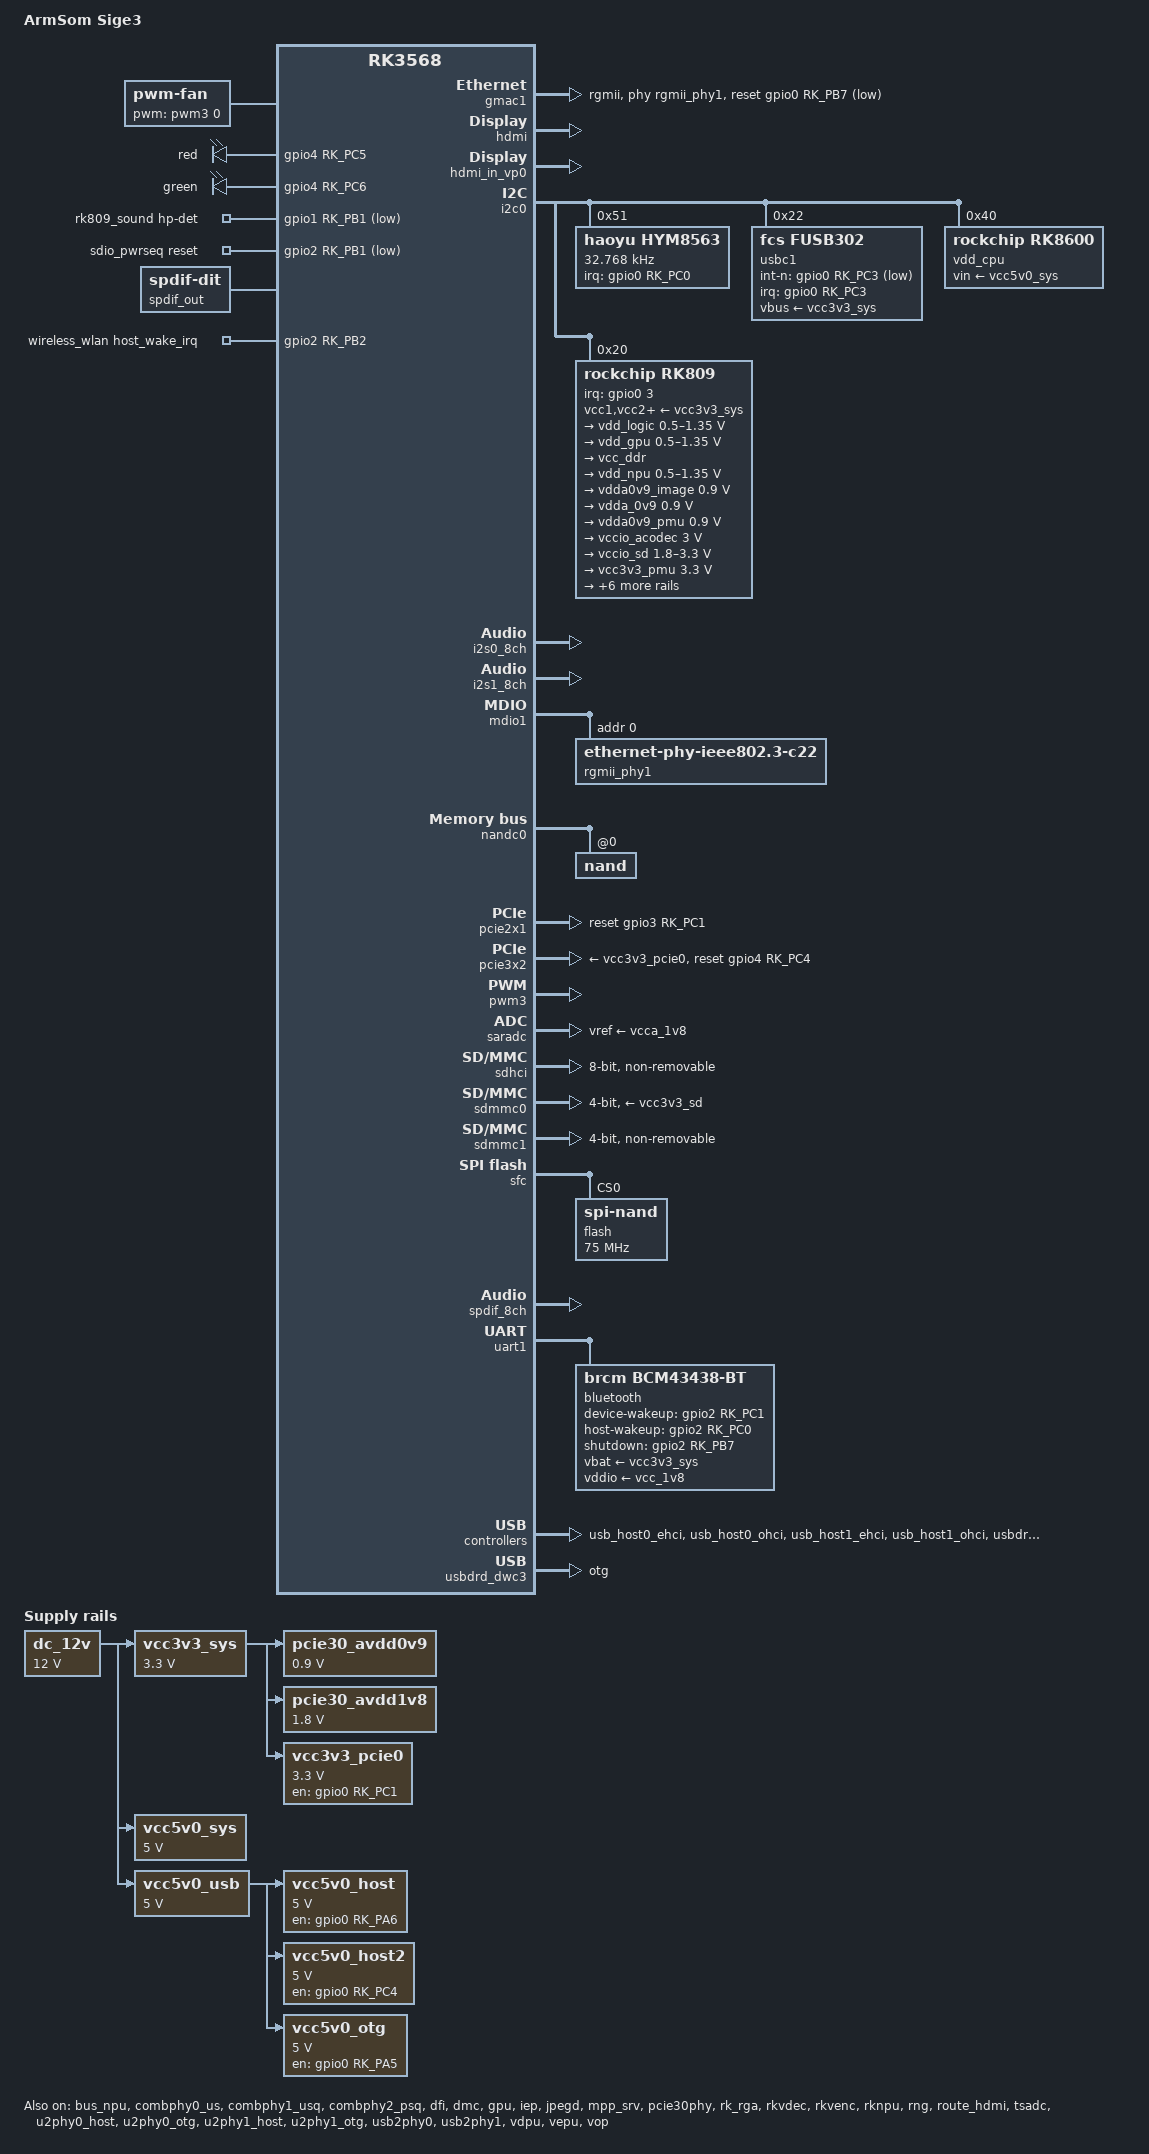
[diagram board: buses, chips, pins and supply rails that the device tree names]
// SPDX-License-Identifier: (GPL-2.0+ OR MIT)
/*
 * Copyright (c) 2020 Rockchip Electronics Co., Ltd.
 */

/dts-v1/;

#include <dt-bindings/gpio/gpio.h>
#include <dt-bindings/pinctrl/rockchip.h>
#include <dt-bindings/gpio/gpio.h>
#include <dt-bindings/usb/pd.h>
#include <dt-bindings/pwm/pwm.h>
#include <dt-bindings/pinctrl/rockchip.h>
#include <dt-bindings/input/rk-input.h>
#include <dt-bindings/display/drm_mipi_dsi.h>
#include <dt-bindings/sensor-dev.h>
#include "rk3568.dtsi"

/ {
	model = "ArmSom Sige3";
	compatible = "armsom,sige3", "rockchip,rk3568";

	aliases {
		mmc0 = &sdhci;
		mmc1 = &sdmmc0;
		mmc2 = &sdmmc1;
	};

	cspmu: cspmu@fd90c000 {
		compatible = "rockchip,cspmu";
		reg = <0x0 0xfd90c000 0x0 0x1000>,
			<0x0 0xfd90d000 0x0 0x1000>,
			<0x0 0xfd90e000 0x0 0x1000>,
			<0x0 0xfd90f000 0x0 0x1000>;
	};

	dc_12v: dc-12v {
		compatible = "regulator-fixed";
		regulator-name = "dc_12v";
		regulator-always-on;
		regulator-boot-on;
		regulator-min-microvolt = <12000000>;
		regulator-max-microvolt = <12000000>;
	};

	debug: debug@fd904000 {
		compatible = "rockchip,debug";
		reg = <0x0 0xfd904000 0x0 0x1000>,
			<0x0 0xfd905000 0x0 0x1000>,
			<0x0 0xfd906000 0x0 0x1000>,
			<0x0 0xfd907000 0x0 0x1000>;
	};

	fan: pwm-fan {
		compatible = "pwm-fan";
		#cooling-cells = <2>;
		pwms = <&pwm3 0 50000 0>;
		cooling-levels = <0 50 100 150 200 255>;
		rockchip,temp-trips = <
			50000	1
			55000	2
			60000	3
			65000	4
			70000	5
		>;
	};

	fiq-debugger {
		compatible = "rockchip,fiq-debugger";
		rockchip,serial-id = <2>;
		rockchip,wake-irq = <0>;
		/* If enable uart uses irq instead of fiq */
		rockchip,irq-mode-enable = <1>;
		rockchip,baudrate = <1500000>;  /* Only 115200 and 1500000 */
		interrupts = <GIC_SPI 252 IRQ_TYPE_LEVEL_LOW>;
		pinctrl-names = "default";
		pinctrl-0 = <&uart2m0_xfer>;
	};

	hdmi_sound: hdmi-sound {
		compatible = "simple-audio-card";
		simple-audio-card,format = "i2s";
		simple-audio-card,mclk-fs = <128>;
		simple-audio-card,name = "rockchip,hdmi";

		simple-audio-card,cpu {
				sound-dai = <&i2s0_8ch>;
		};
		simple-audio-card,codec {
				sound-dai = <&hdmi>;
		};
	};

	leds: leds {
		compatible = "gpio-leds";
		work_led: work {
			label = "red";
			gpios = <&gpio4 RK_PC5 GPIO_ACTIVE_HIGH>;
			linux,default-trigger = "default-off";
			default-state = "off";
		};

		active_led: active {
			label = "green";
			gpios = <&gpio4 RK_PC6 GPIO_ACTIVE_HIGH>;
			linux,default-trigger = "default-off";
			default-state = "on";
		};
	};

	pcie30_avdd0v9: pcie30-avdd0v9 {
		compatible = "regulator-fixed";
		regulator-name = "pcie30_avdd0v9";
		regulator-always-on;
		regulator-boot-on;
		regulator-min-microvolt = <900000>;
		regulator-max-microvolt = <900000>;
		vin-supply = <&vcc3v3_sys>;
	};

	pcie30_avdd1v8: pcie30-avdd1v8 {
		compatible = "regulator-fixed";
		regulator-name = "pcie30_avdd1v8";
		regulator-always-on;
		regulator-boot-on;
		regulator-min-microvolt = <1800000>;
		regulator-max-microvolt = <1800000>;
		vin-supply = <&vcc3v3_sys>;
	};

	rk809_sound: rk809-sound {
		compatible = "rockchip,multicodecs-card";
		rockchip,card-name = "rockchip-rk809";
		hp-det-gpio = <&gpio1 RK_PB1 GPIO_ACTIVE_LOW>;
		rockchip,format = "i2s";
		rockchip,mclk-fs = <256>;
		rockchip,cpu = <&i2s1_8ch>;
		rockchip,codec = <&rk809_codec>;
		pinctrl-names = "default";
		pinctrl-0 = <&hp_det>;
	};

	sdio_pwrseq: sdio-pwrseq {
		compatible = "mmc-pwrseq-simple";
		pinctrl-names = "default";
		pinctrl-0 = <&wifi_enable_h &clk32k_out1>;
		post-power-on-delay-ms = <200>;
		reset-gpios = <&gpio2 RK_PB1 GPIO_ACTIVE_LOW>;
	};

	spdif-sound {
		compatible = "simple-audio-card";
		simple-audio-card,name = "ROCKCHIP,SPDIF";
		simple-audio-card,mclk-fs = <128>;
		simple-audio-card,cpu {
				sound-dai = <&spdif_8ch>;
		};
		simple-audio-card,codec {
				sound-dai = <&spdif_out>;
		};
	};

	spdif_out: spdif-out {
			compatible = "linux,spdif-dit";
			#sound-dai-cells = <0>;
	};

	vcc3v3_pcie0: vcc3v3-pcie0 {
		compatible = "regulator-fixed";
		regulator-name = "vcc3v3_pcie0";
		regulator-min-microvolt = <3300000>;
		regulator-max-microvolt = <3300000>;
		enable-active-high;
		gpio = <&gpio0 RK_PC1 GPIO_ACTIVE_HIGH>;
		startup-delay-us = <5000>;
		vin-supply = <&vcc3v3_sys>;
	};

	vcc3v3_sys: vcc3v3-sys {
		compatible = "regulator-fixed";
		regulator-name = "vcc3v3_sys";
		regulator-always-on;
		regulator-boot-on;
		regulator-min-microvolt = <3300000>;
		regulator-max-microvolt = <3300000>;
		vin-supply = <&dc_12v>;
	};

	vcc5v0_sys: vcc5v0-sys {
		compatible = "regulator-fixed";
		regulator-name = "vcc5v0_sys";
		regulator-always-on;
		regulator-boot-on;
		regulator-min-microvolt = <5000000>;
		regulator-max-microvolt = <5000000>;
		vin-supply = <&dc_12v>;
	};

	vcc5v0_usb: vcc5v0-usb {
		compatible = "regulator-fixed";
		regulator-name = "vcc5v0_usb";
		regulator-always-on;
		regulator-boot-on;
		regulator-min-microvolt = <5000000>;
		regulator-max-microvolt = <5000000>;
		vin-supply = <&dc_12v>;
	};

	vcc5v0_host: vcc5v0-host-regulator {
		compatible = "regulator-fixed";
		regulator-name = "vcc5v0_host";
		regulator-boot-on;
		regulator-always-on;
		regulator-min-microvolt = <5000000>;
		regulator-max-microvolt = <5000000>;
		enable-active-high;
		gpio = <&gpio0 RK_PA6 GPIO_ACTIVE_HIGH>;
		vin-supply = <&vcc5v0_usb>;
		pinctrl-names = "default";
		pinctrl-0 = <&vcc5v0_host_en>;
	};

	vcc5v0_host2: vcc5v0-host2-regulator {
		compatible = "regulator-fixed";
		regulator-name = "vcc5v0_host2";
		regulator-boot-on;
		regulator-always-on;
		regulator-min-microvolt = <5000000>;
		regulator-max-microvolt = <5000000>;
		enable-active-high;
		gpio = <&gpio0 RK_PC4 GPIO_ACTIVE_HIGH>;
		vin-supply = <&vcc5v0_usb>;
		pinctrl-names = "default";
		pinctrl-0 = <&vcc5v0_host2_en>;
	};

	vcc5v0_otg: vcc5v0-otg-regulator {
		compatible = "regulator-fixed";
		regulator-name = "vcc5v0_otg";
		regulator-min-microvolt = <5000000>;
		regulator-max-microvolt = <5000000>;
		enable-active-high;
		gpio = <&gpio0 RK_PA5 GPIO_ACTIVE_HIGH>;
		vin-supply = <&vcc5v0_usb>;
		pinctrl-names = "default";
		pinctrl-0 = <&vcc5v0_otg_en>;
	};

	wireless_wlan: wireless-wlan {
		compatible = "wlan-platdata";
		rockchip,grf = <&grf>;
		wifi_chip_type = "ap6275s";
		pinctrl-names = "default";
		pinctrl-0 = <&wifi_host_wake_irq>;
		WIFI,host_wake_irq = <&gpio2 RK_PB2 GPIO_ACTIVE_HIGH>;
	};
};

&bus_npu {
	bus-supply = <&vdd_logic>;
	pvtm-supply = <&vdd_cpu>;
	status = "okay";
};

&combphy0_us {
	status = "okay";
};

&combphy1_usq {
	status = "okay";
};

&combphy2_psq {
	status = "okay";
};

&cpu0 {
	cpu-supply = <&vdd_cpu>;
};

&dfi {
	status = "okay";
};

&dmc {
	center-supply = <&vdd_logic>;
	status = "okay";
};

&gmac1 {
	phy-mode = "rgmii";
	clock_in_out = "output";

	snps,reset-gpio = <&gpio0 RK_PB7 GPIO_ACTIVE_LOW>;
	snps,reset-active-low;
	/* Reset time is 20ms, 100ms for rtl8211f */
	snps,reset-delays-us = <0 20000 100000>;

	assigned-clocks = <&cru SCLK_GMAC1_RX_TX>, <&cru SCLK_GMAC1>;
	assigned-clock-parents = <&cru SCLK_GMAC1_RGMII_SPEED>, <&cru CLK_MAC1_2TOP>;
	assigned-clock-rates = <0>, <125000000>;

	pinctrl-names = "default";
	pinctrl-0 = <&gmac1m1_miim
		     &gmac1m1_tx_bus2
		     &gmac1m1_rx_bus2
		     &gmac1m1_rgmii_clk
		     &gmac1m1_rgmii_bus>;

	tx_delay = <0x48>;//3c
	rx_delay = <0x2a>;//2f

	phy-handle = <&rgmii_phy1>;
	status = "okay";
};

&gpu {
	mali-supply = <&vdd_gpu>;
	status = "okay";
};

&hdmi {
	status = "okay";
	rockchip,phy-table =
		<92812500  0x8009 0x0000 0x0270>,
		<165000000 0x800b 0x0000 0x026d>,
		<185625000 0x800b 0x0000 0x01ed>,
		<297000000 0x800b 0x0000 0x01ad>,
		<594000000 0x8029 0x0000 0x0088>,
		<000000000 0x0000 0x0000 0x0000>;
};

&hdmi_in_vp0 {
	status = "okay";
};

&hdmi_in_vp1 {
	status = "disabled";
};

&i2c0 {
	status = "okay";

	hym8563: hym8563@51 {
		compatible = "haoyu,hym8563";
		reg = <0x51>;
		#clock-cells = <0>;
		clock-frequency = <32768>;
		clock-output-names = "hym8563";
		pinctrl-names = "default";
		pinctrl-0 = <&hym8563_int>;
		interrupt-parent = <&gpio0>;
		interrupts = <RK_PC0 IRQ_TYPE_LEVEL_LOW>;
		wakeup-source;
	};

	usbc1: fusb302@22 {
		compatible = "fcs,fusb302";
		reg = <0x22>;
		interrupt-parent = <&gpio0>;
		interrupts = <RK_PC3 IRQ_TYPE_LEVEL_LOW>;
		int-n-gpios = <&gpio0 RK_PC3 GPIO_ACTIVE_LOW>;
		pinctrl-names = "default";
		pinctrl-0 = <&usbc1_int>;
		vbus-supply = <&vcc3v3_sys>;
		status = "okay";
		usb_con: connector {
			compatible = "usb-c-connector";
			label = "USB-C";
			data-role = "dual";
			power-role = "dual";
			try-power-role = "sink";
			op-sink-microwatt = <1000000>;
			sink-pdos =
				<PDO_FIXED(5000, 3000, PDO_FIXED_USB_COMM)
				 PDO_FIXED(9000, 3000, PDO_FIXED_USB_COMM)
				 PDO_FIXED(12000, 3000, PDO_FIXED_USB_COMM)>;
			source-pdos =
				<PDO_FIXED(5000, 3000, PDO_FIXED_USB_COMM)>;

			altmodes {
				#address-cells = <1>;
				#size-cells = <0>;

				altmode@0 {
					reg = <0>;
					svid = <0xff01>;
					vdo = <0xffffffff>;
				};
			};
		};
	};

	vdd_cpu: rk8600@40 {
		compatible = "rockchip,rk8600";
		reg = <0x40>;
		vin-supply = <&vcc5v0_sys>;
		regulator-compatible = "rk860x-reg";
		regulator-name = "vdd_cpu";
		regulator-min-microvolt = <712500>;
		regulator-max-microvolt = <1390000>;
		regulator-init-microvolt = <900000>;
		regulator-ramp-delay = <2300>;
		rockchip,suspend-voltage-selector = <1>;
		regulator-boot-on;
		regulator-always-on;
		regulator-state-mem {
			regulator-off-in-suspend;
		};
	};

	rk809: pmic@20 {
		compatible = "rockchip,rk809";
		reg = <0x20>;
		interrupt-parent = <&gpio0>;
		interrupts = <3 IRQ_TYPE_LEVEL_LOW>;

		pinctrl-names = "default", "pmic-sleep",
				"pmic-power-off", "pmic-reset";
		pinctrl-0 = <&pmic_int>;
		pinctrl-1 = <&soc_slppin_slp>, <&rk817_slppin_slp>;
		pinctrl-2 = <&soc_slppin_gpio>, <&rk817_slppin_pwrdn>;
		pinctrl-3 = <&soc_slppin_gpio>, <&rk817_slppin_rst>;

		rockchip,system-power-controller;
		wakeup-source;
		#clock-cells = <1>;
		clock-output-names = "rk808-clkout1", "rk808-clkout2";
		//fb-inner-reg-idxs = <2>;
		/* 1: rst regs (default in codes), 0: rst the pmic */
		pmic-reset-func = <0>;
		/* not save the PMIC_POWER_EN register in uboot */
		not-save-power-en = <1>;

		vcc1-supply = <&vcc3v3_sys>;
		vcc2-supply = <&vcc3v3_sys>;
		vcc3-supply = <&vcc3v3_sys>;
		vcc4-supply = <&vcc3v3_sys>;
		vcc5-supply = <&vcc3v3_sys>;
		vcc6-supply = <&vcc3v3_sys>;
		vcc7-supply = <&vcc3v3_sys>;
		vcc8-supply = <&vcc3v3_sys>;
		vcc9-supply = <&vcc3v3_sys>;

		pwrkey {
			status = "okay";
		};

		pinctrl_rk8xx: pinctrl_rk8xx {
			gpio-controller;
			#gpio-cells = <2>;

			rk817_slppin_null: rk817_slppin_null {
				pins = "gpio_slp";
				function = "pin_fun0";
			};

			rk817_slppin_slp: rk817_slppin_slp {
				pins = "gpio_slp";
				function = "pin_fun1";
			};

			rk817_slppin_pwrdn: rk817_slppin_pwrdn {
				pins = "gpio_slp";
				function = "pin_fun2";
			};

			rk817_slppin_rst: rk817_slppin_rst {
				pins = "gpio_slp";
				function = "pin_fun3";
			};
		};

		regulators {
			vdd_logic: DCDC_REG1 {
				regulator-always-on;
				regulator-boot-on;
				regulator-min-microvolt = <500000>;
				regulator-max-microvolt = <1350000>;
				regulator-init-microvolt = <900000>;
				regulator-ramp-delay = <6001>;
				regulator-initial-mode = <0x2>;
				regulator-name = "vdd_logic";
				regulator-state-mem {
					regulator-off-in-suspend;
				};
			};

			vdd_gpu: DCDC_REG2 {
				regulator-always-on;
				regulator-boot-on;
				regulator-min-microvolt = <500000>;
				regulator-max-microvolt = <1350000>;
				regulator-init-microvolt = <900000>;
				regulator-ramp-delay = <6001>;
				regulator-initial-mode = <0x2>;
				regulator-name = "vdd_gpu";
				regulator-state-mem {
					regulator-off-in-suspend;
				};
			};

			vcc_ddr: DCDC_REG3 {
				regulator-always-on;
				regulator-boot-on;
				regulator-initial-mode = <0x2>;
				regulator-name = "vcc_ddr";
				regulator-state-mem {
					regulator-on-in-suspend;
				};
			};

			vdd_npu: DCDC_REG4 {
				regulator-always-on;
				regulator-boot-on;
				regulator-min-microvolt = <500000>;
				regulator-max-microvolt = <1350000>;
				regulator-init-microvolt = <900000>;
				regulator-ramp-delay = <6001>;
				regulator-initial-mode = <0x2>;
				regulator-name = "vdd_npu";
				regulator-state-mem {
					regulator-off-in-suspend;
				};
			};

			vdda0v9_image: LDO_REG1 {
				regulator-boot-on;
				regulator-always-on;
				regulator-min-microvolt = <900000>;
				regulator-max-microvolt = <900000>;
				regulator-name = "vdda0v9_image";
				regulator-state-mem {
					regulator-off-in-suspend;
				};
			};

			vdda_0v9: LDO_REG2 {
				regulator-always-on;
				regulator-boot-on;
				regulator-min-microvolt = <900000>;
				regulator-max-microvolt = <900000>;
				regulator-name = "vdda_0v9";
				regulator-state-mem {
					regulator-off-in-suspend;
				};
			};

			vdda0v9_pmu: LDO_REG3 {
				regulator-always-on;
				regulator-boot-on;
				regulator-min-microvolt = <900000>;
				regulator-max-microvolt = <900000>;
				regulator-name = "vdda0v9_pmu";
				regulator-state-mem {
					regulator-on-in-suspend;
					regulator-suspend-microvolt = <900000>;
				};
			};

			vccio_acodec: LDO_REG4 {
				regulator-always-on;
				regulator-boot-on;
				regulator-min-microvolt = <3000000>;
				regulator-max-microvolt = <3000000>;
				regulator-name = "vccio_acodec";
				regulator-state-mem {
					regulator-off-in-suspend;
				};
			};

			vccio_sd: LDO_REG5 {
				regulator-always-on;
				regulator-boot-on;
				regulator-min-microvolt = <1800000>;
				regulator-max-microvolt = <3300000>;
				regulator-name = "vccio_sd";
				regulator-state-mem {
					regulator-off-in-suspend;
				};
			};

			vcc3v3_pmu: LDO_REG6 {
				regulator-always-on;
				regulator-boot-on;
				regulator-min-microvolt = <3300000>;
				regulator-max-microvolt = <3300000>;
				regulator-name = "vcc3v3_pmu";
				regulator-state-mem {
					regulator-on-in-suspend;
					regulator-suspend-microvolt = <3300000>;
				};
			};

			vcca_1v8: LDO_REG7 {
				regulator-always-on;
				regulator-boot-on;
				regulator-min-microvolt = <1800000>;
				regulator-max-microvolt = <1800000>;
				regulator-name = "vcca_1v8";
				regulator-state-mem {
					regulator-off-in-suspend;
				};
			};

			vcca1v8_pmu: LDO_REG8 {
				regulator-always-on;
				regulator-boot-on;
				regulator-min-microvolt = <1800000>;
				regulator-max-microvolt = <1800000>;
				regulator-name = "vcca1v8_pmu";
				regulator-state-mem {
					regulator-on-in-suspend;
					regulator-suspend-microvolt = <1800000>;
				};
			};

			vcca1v8_image: LDO_REG9 {
				regulator-always-on;
				regulator-boot-on;
				regulator-min-microvolt = <1800000>;
				regulator-max-microvolt = <1800000>;
				regulator-name = "vcca1v8_image";
				regulator-state-mem {
					regulator-off-in-suspend;
				};
			};

			vcc_1v8: DCDC_REG5 {
				regulator-always-on;
				regulator-boot-on;
				regulator-min-microvolt = <1800000>;
				regulator-max-microvolt = <1800000>;
				regulator-name = "vcc_1v8";
				regulator-state-mem {
					regulator-off-in-suspend;
				};
			};

			vcc_3v3: SWITCH_REG1 {
				regulator-always-on;
				regulator-boot-on;
				regulator-name = "vcc_3v3";
				regulator-state-mem {
					regulator-off-in-suspend;
				};
			};

			vcc3v3_sd: SWITCH_REG2 {
				regulator-always-on;
				regulator-boot-on;
				regulator-name = "vcc3v3_sd";
				regulator-state-mem {
					regulator-off-in-suspend;
				};
			};
		};

		rk809_codec: codec {
			#sound-dai-cells = <1>;
			compatible = "rockchip,rk809-codec", "rockchip,rk817-codec";
			clocks = <&cru I2S1_MCLKOUT>;
			clock-names = "mclk";
			assigned-clocks = <&cru I2S1_MCLKOUT>, <&cru I2S1_MCLK_TX_IOE>;
			assigned-clock-rates = <12288000>;
			assigned-clock-parents = <&cru I2S1_MCLKOUT_TX>, <&cru I2S1_MCLKOUT_TX>;
			pinctrl-names = "default";
			pinctrl-0 = <&i2s1m0_mclk>;
			hp-volume = <20>;
			spk-volume = <3>;
			mic-in-differential;
			status = "okay";
		};
	};


};

&i2s0_8ch {
	status = "okay";
};

&i2s1_8ch {
	status = "okay";
	rockchip,clk-trcm = <1>;
	pinctrl-names = "default";
	pinctrl-0 = <&i2s1m0_sclktx
		     &i2s1m0_lrcktx
		     &i2s1m0_sdi0
		     &i2s1m0_sdo0>;
};

&iep {
	status = "okay";
};

&iep_mmu {
	status = "okay";
};

&jpegd {
	status = "okay";
};

&jpegd_mmu {
	status = "okay";
};

&mdio1 {
	rgmii_phy1: phy@0 {
		compatible = "ethernet-phy-ieee802.3-c22";
		reg = <0x0>;
	};
};

&mpp_srv {
	status = "okay";
};

&nandc0 {
	#address-cells = <1>;
	#size-cells = <0>;
	status = "okay";

	nand@0 {
		reg = <0>;
		nand-bus-width = <8>;
		nand-ecc-mode = "hw";
		nand-ecc-strength = <16>;
		nand-ecc-step-size = <1024>;
	};
};

&pcie2x1 {
	reset-gpios = <&gpio3 RK_PC1 GPIO_ACTIVE_HIGH>;
	status = "okay";
};

&pcie30phy {
	status = "okay";
};

&pcie3x2 {
	reset-gpios = <&gpio4 RK_PC4 GPIO_ACTIVE_HIGH>;
	vpcie3v3-supply = <&vcc3v3_pcie0>;
	status = "okay";
};

&pinctrl {
	bt {
		bt_enable: bt-enable {
			rockchip,pins = <2 RK_PB7 RK_FUNC_GPIO &pcfg_pull_none>;
		};

		bt_host_wake: bt-host-wake {
			rockchip,pins = <2 RK_PC0 RK_FUNC_GPIO &pcfg_pull_down>;
		};

		bt_wake: bt-wake {
			rockchip,pins = <2 RK_PC1 RK_FUNC_GPIO &pcfg_pull_none>;
		};
	};

	headphone {
		hp_det: hp-det {
			rockchip,pins = <1 RK_PB1 RK_FUNC_GPIO &pcfg_pull_down>;
		};
	};

	pmic {
		pmic_int: pmic_int {
			rockchip,pins =
				<0 RK_PA3 RK_FUNC_GPIO &pcfg_pull_up>;
		};

		soc_slppin_gpio: soc_slppin_gpio {
			rockchip,pins =
				<0 RK_PA2 RK_FUNC_GPIO &pcfg_output_low>;
		};

		soc_slppin_slp: soc_slppin_slp {
			rockchip,pins =
				<0 RK_PA2 1 &pcfg_pull_none>;
		};

		soc_slppin_rst: soc_slppin_rst {
			rockchip,pins =
				<0 RK_PA2 2 &pcfg_pull_none>;
		};
	};

	usb {
		vcc5v0_host_en: vcc5v0-host-en {
			rockchip,pins = <0 RK_PA6 RK_FUNC_GPIO &pcfg_pull_none>;
		};

		vcc5v0_host2_en: vcc5v0-host2-en {
			rockchip,pins = <0 RK_PC4 RK_FUNC_GPIO &pcfg_pull_none>;
		};

		vcc5v0_otg_en: vcc5v0-otg-en {
			rockchip,pins = <0 RK_PA5 RK_FUNC_GPIO &pcfg_pull_none>;
		};
		usbc1_int: usbc1-int {
			rockchip,pins = <0 RK_PC3 RK_FUNC_GPIO &pcfg_pull_up>;
		};
	};

	pcie {
		vcc3v3_pcie_en: vcc3v3-pcie-en {
			rockchip,pins = <0 RK_PC1 RK_FUNC_GPIO &pcfg_pull_none>;
		};
	};

	hym8563 {
		hym8563_int: hym8563-int {
			rockchip,pins = <0 RK_PD3 RK_FUNC_GPIO &pcfg_pull_up>;
		};
	};

	sdio-pwrseq {
		wifi_enable_h: wifi-enable-h {
			rockchip,pins = <2 RK_PB1 RK_FUNC_GPIO &pcfg_pull_none>;
		};
	};

	wireless-wlan {
		wifi_host_wake_irq: wifi-host-wake-irq {
			rockchip,pins = <2 RK_PB2 RK_FUNC_GPIO &pcfg_pull_down>;
		};
	};
};

 /*
  * There are 10 independent IO domains in RK3566/RK3568, including PMUIO[0:2] and VCCIO[1:7].
  * 1/ PMUIO0 and PMUIO1 are fixed-level power domains which cannot be configured;
  * 2/ PMUIO2 and VCCIO1,VCCIO[3:7] domains require that their hardware power supply voltages
  *    must be consistent with the software configuration correspondingly
  *	a/ When the hardware IO level is connected to 1.8V, the software voltage configuration
  *	   should also be configured to 1.8V accordingly;
  *	b/ When the hardware IO level is connected to 3.3V, the software voltage configuration
  *	   should also be configured to 3.3V accordingly;
  * 3/ VCCIO2 voltage control selection (0xFDC20140)
  *	BIT[0]: 0x0: from GPIO_0A7 (default)
  *	BIT[0]: 0x1: from GRF
  *    Default is determined by Pin FLASH_VOL_SEL/GPIO0_A7:
  *	L:VCCIO2 must supply 3.3V
  *	H:VCCIO2 must supply 1.8V
  */
&pmu_io_domains {
	status = "okay";
	pmuio2-supply = <&vcc3v3_pmu>;
	vccio1-supply = <&vccio_acodec>;
	vccio3-supply = <&vccio_sd>;
	vccio4-supply = <&vcc_1v8>;
	vccio5-supply = <&vcc_3v3>;
	vccio6-supply = <&vcc_1v8>;
	vccio7-supply = <&vcc_3v3>;
};

&pwm3 {
	status = "okay";
};

&reserved_memory {
	ramoops: ramoops@110000 {
		compatible = "ramoops";
		reg = <0x0 0x110000 0x0 0xf0000>;
		record-size = <0x20000>;
		console-size = <0x80000>;
		ftrace-size = <0x00000>;
		pmsg-size = <0x50000>;
	};
};

&rk_rga {
	status = "okay";
};

&rkvdec {
	status = "okay";
};

&rkvdec_mmu {
	status = "okay";
};

&rkvenc {
	venc-supply = <&vdd_logic>;
	status = "okay";
};

&rkvenc_mmu {
	status = "okay";
};

&rknpu {
	rknpu-supply = <&vdd_npu>;
	status = "okay";
};

&rknpu_mmu {
	status = "okay";
};

&rng {
	status = "okay";
};

&rockchip_suspend {
	status = "okay";
};

&route_hdmi {
	status = "okay";
	connect = <&vp0_out_hdmi>;
};

&saradc {
	status = "okay";
	vref-supply = <&vcca_1v8>;
};

&sdhci {
	bus-width = <8>;
	no-sdio;
	no-sd;
	non-removable;
	max-frequency = <200000000>;
	full-pwr-cycle-in-suspend;
	status = "okay";
};

&sdmmc0 {
	max-frequency = <150000000>;
	supports-sd;
	bus-width = <4>;
	cap-mmc-highspeed;
	cap-sd-highspeed;
	disable-wp;
	sd-uhs-sdr104;
	vmmc-supply = <&vcc3v3_sd>;
	vqmmc-supply = <&vccio_sd>;
	pinctrl-names = "default";
	pinctrl-0 = <&sdmmc0_bus4 &sdmmc0_clk &sdmmc0_cmd &sdmmc0_det>;
	status = "okay";
};

&sdmmc1 {
	max-frequency = <200000000>;
	no-sd;
	no-mmc;
	supports-sdio;
	bus-width = <4>;
	disable-wp;
	cap-sd-highspeed;
	cap-sdio-irq;
	keep-power-in-suspend;
	mmc-pwrseq = <&sdio_pwrseq>;
	non-removable;
	pinctrl-names = "default";
	pinctrl-0 = <&sdmmc1_bus4 &sdmmc1_cmd &sdmmc1_clk>;
	sd-uhs-sdr104;
	status = "okay";
};

&sfc {
	status = "okay";

	flash@0 {
		compatible = "spi-nand";
		reg = <0>;
		spi-max-frequency = <75000000>;
		spi-rx-bus-width = <4>;
		spi-tx-bus-width = <1>;
	};
};

&spdif_8ch {
	status = "okay";
};

&tsadc {
	status = "okay";
};

&u2phy0_host {
	phy-supply = <&vcc5v0_host>;
	status = "okay";
};

&u2phy0_otg {
	vbus-supply = <&vcc5v0_otg>;
	status = "okay";
};

&u2phy1_host {
	phy-supply = <&vcc5v0_host2>;
	status = "okay";
};

&u2phy1_otg {
	phy-supply = <&vcc5v0_host2>;
	status = "okay";
};

&uart1 {
	status = "okay";
	pinctrl-names = "default";
	pinctrl-0 = <&uart1m0_xfer &uart1m0_ctsn>;
	pinctrl-0 = <&uart1m0_xfer &uart1m0_ctsn &uart1m0_rtsn>;
	uart-has-rtscts;
	bluetooth {
		compatible = "brcm,bcm43438-bt";
		device-wakeup-gpios = <&gpio2 RK_PC1 0>;
		host-wakeup-gpios = <&gpio2 RK_PC0 0>;
		shutdown-gpios = <&gpio2 RK_PB7 0>;
		pinctrl-names = "default";
		pinctrl-0 = <&bt_host_wake &bt_wake &bt_enable>;
		vbat-supply = <&vcc3v3_sys>;
		vddio-supply = <&vcc_1v8>;
	};
};

&usb2phy0 {
	status = "okay";
};

&usb2phy1 {
	status = "okay";
};

&usb_host0_ehci {
	status = "okay";
};

&usb_host0_ohci {
	status = "okay";
};

&usb_host1_ehci {
	status = "okay";
};

&usb_host1_ohci {
	status = "okay";
};

&usbdrd_dwc3 {
	dr_mode = "otg";
	extcon = <&usb2phy0>;
	status = "okay";
};

&usbdrd30 {
	status = "okay";
};

&usbhost_dwc3 {
	status = "okay";
};

&usbhost30 {
	status = "okay";
};

&vdpu {
	status = "okay";
};

&vdpu_mmu {
	status = "okay";
};

&vepu {
	status = "okay";
};

&vepu_mmu {
	status = "okay";
};

&vop {
	status = "okay";
	disable-win-move;
	assigned-clocks = <&cru DCLK_VOP0>, <&cru DCLK_VOP1>, <&cru DCLK_VOP2>;
	assigned-clock-parents = <&pmucru PLL_HPLL>, <&cru PLL_VPLL>, <&cru PLL_GPLL>;
};

&vop_mmu {
	status = "okay";
};
